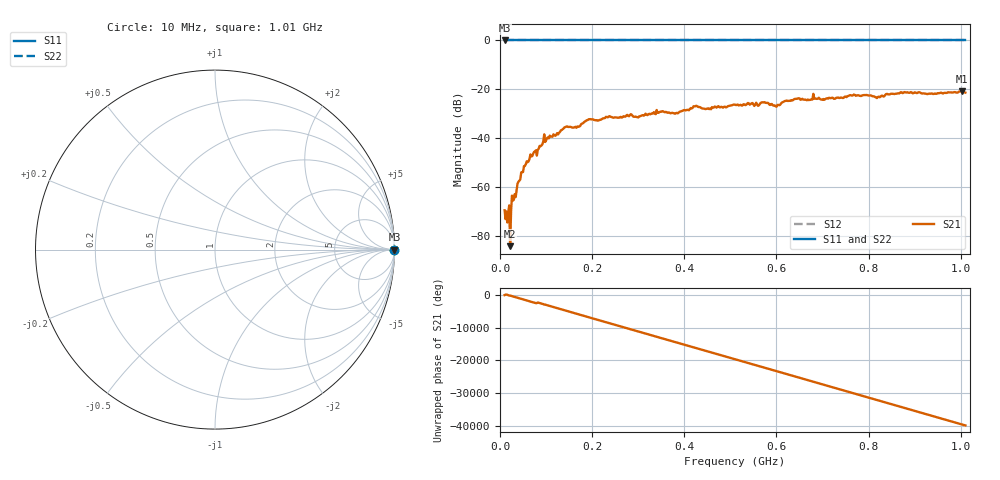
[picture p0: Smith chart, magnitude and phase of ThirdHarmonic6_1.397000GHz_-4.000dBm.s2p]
! 8/16/2025 3:56:52 PM
! C:\ANRITSUVNA\TEMP\TEMP.S2P
! CHANNEL.1
! TR.MEASUREMENT
! RAW.DATA
! RF.CORRECTION.OFF
! AVERAGING.OFF
! IF.BANDWIDTH: 5KHZ
! SWEEPTYPE:  FREQ.SWEEP(Linear)
! Reference Plane Port Info
! PORT:  PORT1  PORT2
! DISTANCE:  0  m  0  m
! TIME:  0  s  0  s
! PHASE.OFFSET:  0  deg.  0  deg.
! LOSS:  0  dB  0  dB
! REF.LOSS:  0  dB  0  dB
! REF.FREQ:  0  Hz  0  Hz
! Power Info
! POWER:  -20  dBm  -20  dBm
! EFF.POWER:  -20  dBm  -20  dBm
! SOURCE.ATTEN:  0  dB  0  dB
! TEST.ATTEN:  0  dB  0  dB
# GHZ S RI R 50.0
! FREQ.GHZ  S11RE  S11IM  S21RE  S21IM  S12RE  S12IM  S22RE  S22IM
!; PortSelection: Port_12
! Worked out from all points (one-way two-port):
!   501 points, 10 MHz to 1.01 GHz, reference 50 ohm
!   highest |S21| = -20.75 dB at 1.002 GHz (marker M1); lowest = -84.0 dB at 22 MHz (marker M2)
!   lowest |S11| = 0.0 dB at 10 MHz (marker M3)
!   |S11| at or under -10 dB: nowhere
!   |S22| runs from 0.0 to 0.0 dB; largest |S21 - S12| = 1.1
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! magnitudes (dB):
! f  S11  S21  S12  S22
! 10 MHz  0.0  -69.4  0.0  0.0
! 18 MHz  0.0  -70.3  0.0  0.0
! 22 MHz  0.0  -84.0  0.0  0.0
! 26 MHz  0.0  -63.4  0.0  0.0
! 28 MHz  0.0  -65.4  0.0  0.0
! 50 MHz  0.0  -53.7  0.0  0.0
! 70 MHz  0.0  -47.2  0.0  0.0
! 100 MHz  0.0  -40.8  0.0  0.0
! 142 MHz  0.0  -35.4  0.0  0.0
! 178 MHz  0.0  -34.0  0.0  0.0
! 196 MHz  0.0  -32.1  0.0  0.0
! 344 MHz  0.0  -29.6  0.0  0.0
! 382 MHz  0.0  -29.7  0.0  0.0
! 424 MHz  0.0  -26.9  0.0  0.0
! 454 MHz  0.0  -28.0  0.0  0.0
! 510 MHz  0.0  -26.2  0.0  0.0
! 572 MHz  0.0  -25.3  0.0  0.0
! 598 MHz  0.0  -26.9  0.0  0.0
! 678 MHz  0.0  -24.2  0.0  0.0
! 844 MHz  0.0  -22.0  0.0  0.0
! 1.002 GHz  0.0  -20.7  0.0  0.0
! 1.01 GHz  0.0  -21.3  0.0  0.0
